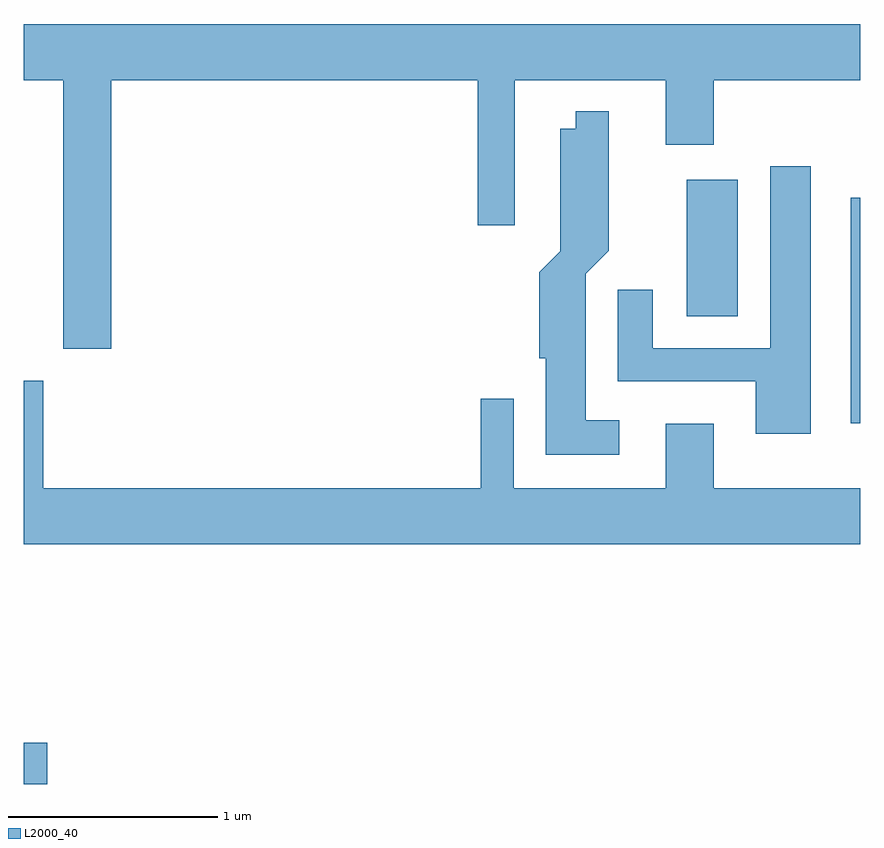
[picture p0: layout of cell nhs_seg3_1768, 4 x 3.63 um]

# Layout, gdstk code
import gdstk
lib = gdstk.Library(unit=1e-6, precision=1e-09)
def R(c, l, rs):  # rectangles x0, y0, x1, y1
    for r in rs: c.add(gdstk.rectangle(r[:2], r[2:], *l))
def P(c, l, *ps):  # polygons
    for p in ps: c.add(gdstk.Polygon(p, *l))
L2000_40 = (2000, 40)

nhs_seg3_1768 = lib.new_cell('nhs_seg3_1768')
R(nhs_seg3_1768, L2000_40, [(237.611,1115.991,237.724,1116.189), (241.566,1117.716,241.611,1118.794), (240.781,1118.226,241.024,1118.879)])
P(nhs_seg3_1768, L2000_40, [(238.029,1119.356),(239.781,1119.356),(239.781,1118.661),(239.959,1118.661),(239.959,1119.356),(240.681,1119.356),(240.681,1119.046),(240.909,1119.046),(240.909,1119.356),(241.611,1119.356),(241.611,1119.624),(237.611,1119.624),(237.611,1119.356),(237.801,1119.356),(237.801,1118.071),(238.029,1118.071)],
  [(240.458,1117.729),(240.299,1117.729),(240.299,1118.429),(240.409,1118.539),(240.409,1119.208),(240.251,1119.208),(240.251,1119.124),(240.176,1119.124),(240.176,1118.537),(240.076,1118.437),(240.076,1118.026),(240.106,1118.026),(240.106,1117.566),(240.458,1117.566)],
  [(241.374,1118.944),(241.181,1118.944),(241.181,1118.074),(240.619,1118.074),(240.619,1118.353),(240.451,1118.353),(240.451,1117.916),(241.111,1117.916),(241.111,1117.666),(241.374,1117.666)],
  [(241.611,1117.404),(240.909,1117.404),(240.909,1117.714),(240.681,1117.714),(240.681,1117.404),(239.954,1117.404),(239.954,1117.833),(239.796,1117.833),(239.796,1117.404),(237.704,1117.404),(237.704,1117.919),(237.611,1117.919),(237.611,1117.136),(241.611,1117.136)])

lib.write_gds('nhs_seg3_1768.gds')
